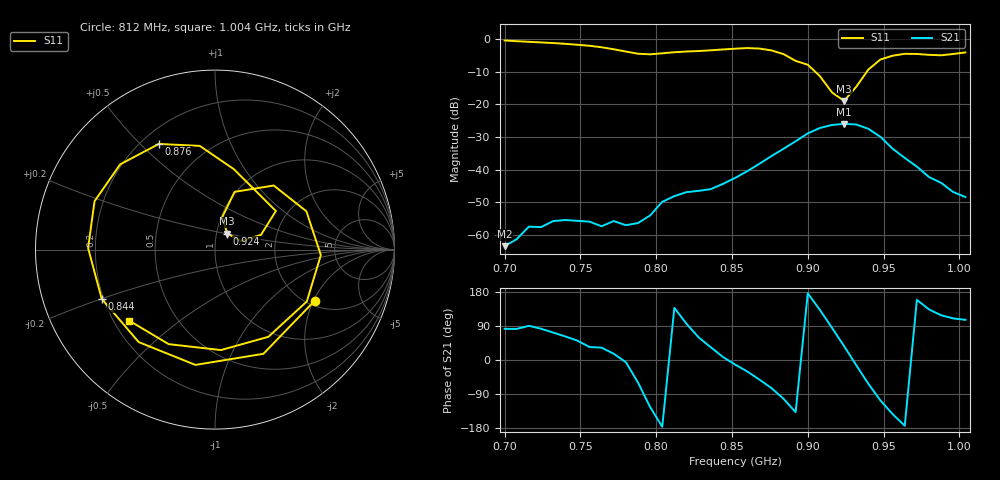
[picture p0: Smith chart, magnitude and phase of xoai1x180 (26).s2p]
# Hz S RI R 50
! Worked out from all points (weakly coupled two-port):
!   39 points, 700 MHz to 1.004 GHz, reference 50 ohm
!   highest |S21| = -25.99 dB at 924 MHz (marker M1); lowest = -63.4 dB at 700 MHz (marker M2)
!   lowest |S11| = -19.0 dB at 924 MHz (marker M3), VSWR 1.25, Z = 56.4 + j10.2 ohm
!   |S11| at or under -10 dB: 904.8 MHz to 939.1 MHz (34.27 MHz wide, 3.72 % of centre)
!   S12 and S22 are empty: the file has one direction only
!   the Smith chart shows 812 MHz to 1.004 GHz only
!   S11 on the Smith chart (normalised r, x): 812 MHz: 2.19, -2.05; 844 MHz: 0.19, -0.20; 876 MHz: 0.27, +0.57; 924 MHz: 1.13, +0.20; 1.004 GHz: 0.26, -0.34
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7e8  0.765 0.5548  9.23e-05 0.00067  0 0  0 0
7.24e8  0.8471 -0.245  0.000173 0.00131  0 0  0 0
7.4e8  0.4564 -0.7045  0.000793 0.0015  0 0  0 0
7.56e8  -0.1931 -0.7597  0.00133 0.000903  0 0  0 0
7.72e8  -0.6642 -0.1974  0.00157 0.000465  0 0  0 0
7.8e8  -0.5968 0.2304  0.00141 -0.000141  0 0  0 0
7.88e8  -0.2428 0.5402  0.000776 -0.00132  0 0  0 0
7.96e8  0.247 0.5248  -0.00111 -0.00165  0 0  0 0
8.04e8  0.5764 0.1701  -0.00321 -0.000209  0 0  0 0
8.12e8  0.5559 -0.2844  -0.00291 0.00265  0 0  0 0
8.28e8  -0.109 -0.6424  0.00239 0.0041  0 0  0 0
8.44e8  -0.6313 -0.274  0.006 0.000837  0 0  0 0
8.52e8  -0.707 0.00834  0.0073 -0.00153  0 0  0 0
8.76e8  -0.3128 0.5887  0.00445 -0.0155  0 0  0 0
9e8  0.3392 0.2152  -0.0358 0.0025  0 0  0 0
9.08e8  0.2564 0.0825  -0.0291 0.0321  0 0  0 0
9.24e8  0.0686 0.0891  0.0404 0.0298  0 0  0 0
9.4e8  0.1093 0.3217  0.0192 -0.0375  0 0  0 0
9.56e8  0.5091 0.2136  -0.0167 -0.0126  0 0  0 0
9.64e8  0.5897 -0.0308  -0.015 -0.0017  0 0  0 0
9.8e8  0.2973 -0.486  -0.00531 0.00561  0 0  0 0
1.004e9  -0.4784 -0.3956  -0.00106 0.00367  0 0  0 0
